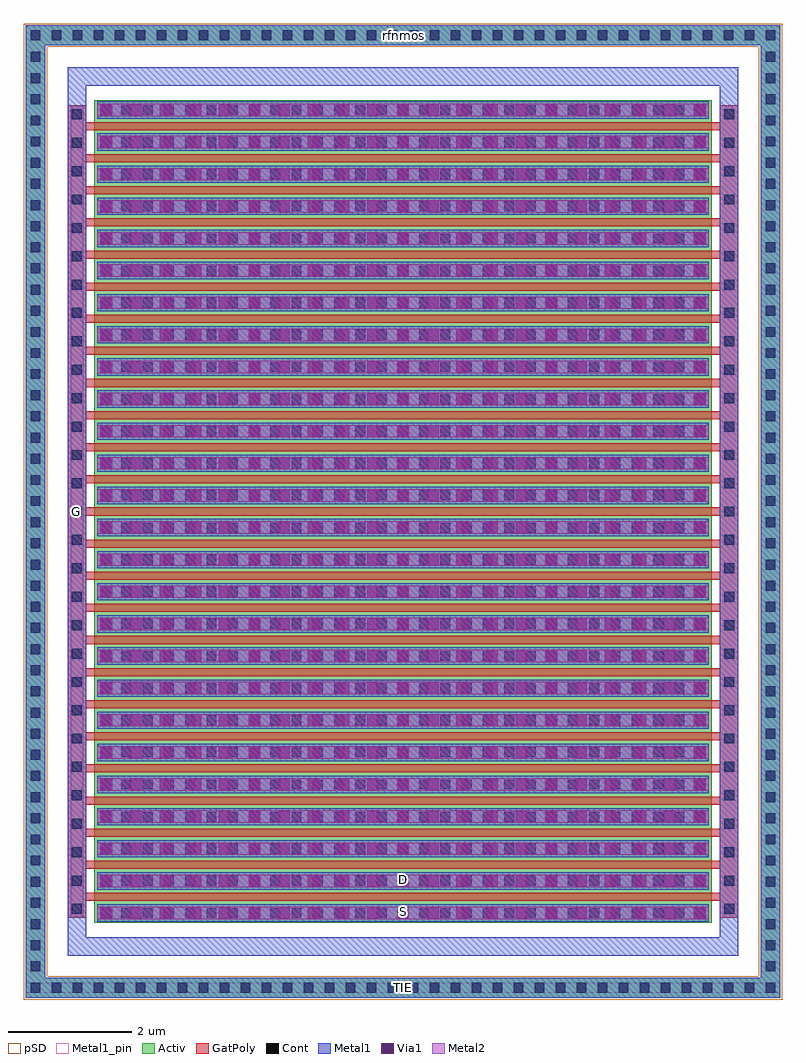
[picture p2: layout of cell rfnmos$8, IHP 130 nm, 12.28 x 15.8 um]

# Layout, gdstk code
import gdstk
lib = gdstk.Library(unit=1e-6, precision=5e-09)
def R(c, l, rs):  # rectangles x0, y0, x1, y1
    for r in rs: c.add(gdstk.rectangle(r[:2], r[2:], *l))
def A(c, l, x, y, w, h, nx, ny, dx, dy):  # array of equal rectangles
    R(c, l, [(x+i*dx, y+j*dy, x+i*dx+w, y+j*dy+h) for i in range(nx) for j in range(ny)])
def P(c, l, *ps):  # polygons
    for p in ps: c.add(gdstk.Polygon(p, *l))
Activ = (1, 0)
GatPoly = (5, 0)
Cont = (6, 0)
Metal1 = (8, 0)
Metal1_pin = (8, 2)
Metal2 = (10, 0)
pSD = (14, 0)
Via1 = (19, 0)

rfnmos_8 = lib.new_cell('rfnmos$8')
R(rfnmos_8, Activ, [(1.14,1.245,11.14,14.555)])
P(rfnmos_8, Activ, [(0.03,0.03),(0.03,15.45),(0.35,15.45),(0.35,0.35),(11.93,0.35),(11.93,15.45),(0.03,15.45),(0.03,15.77),(12.25,15.77),(12.25,0.03)])
A(rfnmos_8, GatPoly, 1.01, 1.595, 10.26, 0.13, 1, 25, 0, 0.52)
R(rfnmos_8, GatPoly, [(0.71,1.32,1.01,14.48), (11.27,1.32,11.57,14.48)])
A(rfnmos_8, Cont, 0.11, 0.11, 0.16, 0.16, 36, 2, 0.34, 15.42)
A(rfnmos_8, Cont, 0.11, 0.46, 0.16, 0.16, 1, 3, 0, 0.34)
A(rfnmos_8, Cont, 12.01, 0.46, 0.16, 0.16, 1, 3, 0, 0.34)
A(rfnmos_8, Cont, 1.24, 1.32, 0.16, 0.16, 1, 26, 0, 0.52)
A(rfnmos_8, Cont, 1.58, 1.32, 0.16, 0.16, 7, 26, 0.345, 0.52)
A(rfnmos_8, Cont, 3.99, 1.32, 0.16, 0.16, 7, 26, 0.345, 0.52)
A(rfnmos_8, Cont, 6.4, 1.32, 0.16, 0.16, 7, 26, 0.345, 0.52)
A(rfnmos_8, Cont, 8.81, 1.32, 0.16, 0.16, 7, 26, 0.345, 0.52)
A(rfnmos_8, Cont, 0.78, 1.845, 0.16, 0.16, 1, 7, 0, 0.46)
A(rfnmos_8, Cont, 11.34, 1.845, 0.16, 0.16, 1, 7, 0, 0.46)
A(rfnmos_8, Cont, 0.11, 4.91, 0.16, 0.16, 1, 3, 0, 0.34)
A(rfnmos_8, Cont, 12.01, 4.91, 0.16, 0.16, 1, 3, 0, 0.34)
A(rfnmos_8, Cont, 0.78, 5.06, 0.16, 0.16, 1, 7, 0, 0.46)
A(rfnmos_8, Cont, 11.34, 5.06, 0.16, 0.16, 1, 7, 0, 0.46)
A(rfnmos_8, Cont, 0.78, 8.275, 0.16, 0.16, 1, 7, 0, 0.46)
A(rfnmos_8, Cont, 11.34, 8.275, 0.16, 0.16, 1, 7, 0, 0.46)
A(rfnmos_8, Cont, 0.11, 10.045, 0.16, 0.16, 1, 3, 0, 0.34)
A(rfnmos_8, Cont, 12.01, 10.045, 0.16, 0.16, 1, 3, 0, 0.34)
A(rfnmos_8, Cont, 0.78, 11.49, 0.16, 0.16, 1, 7, 0, 0.46)
A(rfnmos_8, Cont, 11.34, 11.49, 0.16, 0.16, 1, 7, 0, 0.46)
R(rfnmos_8, Cont, [(0.78,1.39,0.94,1.55), (11.34,1.39,11.5,1.55), (0.11,1.485,0.27,1.645), (12.01,1.485,12.17,1.645), (0.11,1.825,0.27,1.985), (12.01,1.825,12.17,1.985), (0.11,2.17,0.27,2.33), (12.01,2.17,12.17,2.33), (0.11,2.51,0.27,2.67), (12.01,2.51,12.17,2.67), (0.11,2.855,0.27,3.015), (12.01,2.855,12.17,3.015), (0.11,3.195,0.27,3.355), (12.01,3.195,12.17,3.355), (0.11,3.54,0.27,3.7), (12.01,3.54,12.17,3.7), (0.11,3.88,0.27,4.04), (12.01,3.88,12.17,4.04), (0.11,4.225,0.27,4.385), (12.01,4.225,12.17,4.385), (0.11,4.565,0.27,4.725), (12.01,4.565,12.17,4.725), (0.11,5.935,0.27,6.095), (12.01,5.935,12.17,6.095), (0.11,6.275,0.27,6.435), (12.01,6.275,12.17,6.435), (0.11,6.62,0.27,6.78), (12.01,6.62,12.17,6.78), (0.11,6.96,0.27,7.12), (12.01,6.96,12.17,7.12), (0.11,7.305,0.27,7.465), (12.01,7.305,12.17,7.465), (0.11,7.645,0.27,7.805), (12.01,7.645,12.17,7.805), (0.11,7.99,0.27,8.15), (12.01,7.99,12.17,8.15), (0.11,8.33,0.27,8.49), (12.01,8.33,12.17,8.49), (0.11,8.675,0.27,8.835), (12.01,8.675,12.17,8.835), (0.11,9.015,0.27,9.175), (12.01,9.015,12.17,9.175), (0.11,9.36,0.27,9.52), (12.01,9.36,12.17,9.52), (0.11,9.7,0.27,9.86), (12.01,9.7,12.17,9.86), (0.11,11.07,0.27,11.23), (12.01,11.07,12.17,11.23), (0.11,11.41,0.27,11.57), (12.01,11.41,12.17,11.57), (0.11,11.755,0.27,11.915), (12.01,11.755,12.17,11.915), (0.11,12.095,0.27,12.255), (12.01,12.095,12.17,12.255), (0.11,12.44,0.27,12.6), (12.01,12.44,12.17,12.6), (0.11,12.78,0.27,12.94), (12.01,12.78,12.17,12.94), (0.11,13.125,0.27,13.285), (12.01,13.125,12.17,13.285), (0.11,13.465,0.27,13.625), (12.01,13.465,12.17,13.625), (0.11,13.81,0.27,13.97), (12.01,13.81,12.17,13.97), (0.11,14.15,0.27,14.31), (12.01,14.15,12.17,14.31), (0.11,14.495,0.27,14.655), (12.01,14.495,12.17,14.655), (0.11,14.835,0.27,14.995), (12.01,14.835,12.17,14.995), (0.11,15.18,0.27,15.34), (12.01,15.18,12.17,15.34)])
A(rfnmos_8, Metal1, 1.19, 1.26, 9.9, 0.28, 1, 26, 0, 0.52)
R(rfnmos_8, Metal1, [(0.03,0.03,12.25,0.35), (0.03,0.35,0.35,15.45), (11.93,0.35,12.25,15.45), (0.76,1.34,0.96,14.46), (11.32,1.34,11.52,14.46), (0.03,15.45,12.25,15.77)])
P(rfnmos_8, Metal1, [(0.71,0.71),(0.71,14.79),(1.01,14.79),(1.01,1.01),(11.27,1.01),(11.27,14.79),(0.71,14.79),(0.71,15.09),(11.57,15.09),(11.57,0.71)])
R(rfnmos_8, Metal1_pin, [(0.03,0.11,12.25,0.27), (0.03,0.11,12.25,0.27), (1.19,1.26,11.09,1.54), (1.19,1.26,11.09,1.54), (0.76,1.34,0.96,14.46), (0.76,1.34,0.96,14.46), (1.19,1.78,11.09,2.06), (1.19,1.78,11.09,2.06)])
A(rfnmos_8, Metal2, 1.19, 1.3, 9.9, 0.2, 1, 26, 0, 0.52)
P(rfnmos_8, pSD, [(0,0),(0,15.42),(0.38,15.42),(0.38,0.38),(11.9,0.38),(11.9,15.42),(0,15.42),(0,15.8),(12.28,15.8),(12.28,0)])
A(rfnmos_8, Via1, 1.24, 1.305, 0.19, 0.19, 10, 26, 0.48, 0.52)
A(rfnmos_8, Via1, 6.045, 1.305, 0.19, 0.19, 10, 26, 0.48, 0.52)
A(rfnmos_8, Via1, 10.85, 1.305, 0.19, 0.19, 1, 26, 0, 0.52)
rfnmos_8.add(gdstk.Label('S', (6.14,1.42), layer=63, texttype=0))
rfnmos_8.add(gdstk.Label('D', (6.14,1.94), layer=63, texttype=0))
rfnmos_8.add(gdstk.Label('G', (0.86,7.9), layer=63, texttype=0))
rfnmos_8.add(gdstk.Label('TIE', (6.14,0.19), layer=63, texttype=0))
rfnmos_8.add(gdstk.Label('rfnmos', (6.14,15.61), layer=63, texttype=0))

lib.write_gds('rfnmos_8.gds')
